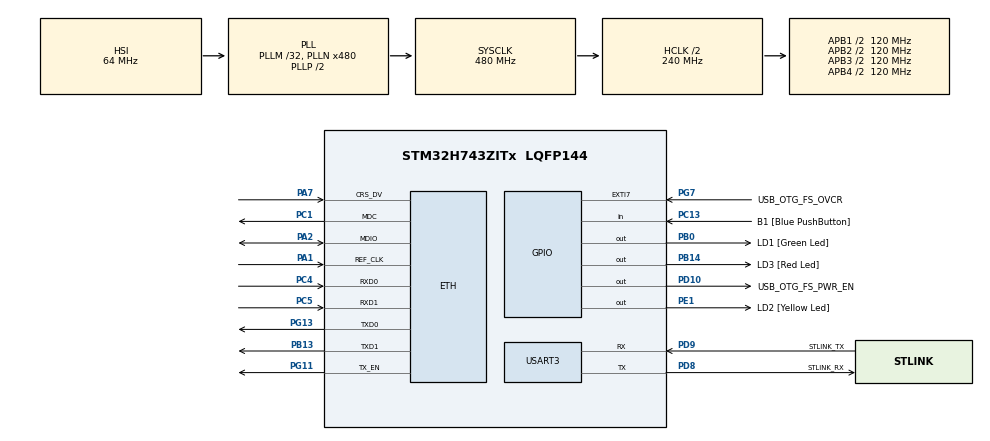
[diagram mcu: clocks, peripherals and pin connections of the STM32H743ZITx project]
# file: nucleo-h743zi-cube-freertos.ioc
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ETH.MediaInterface=HAL_ETH_RMII_MODE
ETH.RxBuffLen=0
FREERTOS.Tasks01=Blinker,24,128,blinker,Default,NULL,Dynamic,NULL,NULL;Server,24,2048,server,Default,NULL,Dynamic,NULL,NULL
FREERTOS.configTOTAL_HEAP_SIZE=65536
FREERTOS.configUSE_NEWLIB_REENTRANT=1
Mcu.Family=STM32H7
Mcu.Name=STM32H743ZITx
Mcu.Package=LQFP144
NVIC.ETH_IRQn=true\:5\:0\:false\:false\:false\:true\:true\:true\:true
NVIC.PriorityGroup=NVIC_PRIORITYGROUP_4
NVIC.TIM6_DAC_IRQn=true\:15\:0\:false\:false\:true\:false\:false\:true\:true
NVIC.TimeBase=TIM6_DAC_IRQn
NVIC.TimeBaseIP=TIM6
PA1.Mode=RMII
PA1.Signal=ETH_REF_CLK
PA11.Signal=USB_OTG_FS_DM
PA12.Signal=USB_OTG_FS_DP
PA13\ (JTMS/SWDIO).GPIO_Label=JTMS
PA13\ (JTMS/SWDIO).Signal=DEBUG_JTMS-SWDIO
PA14\ (JTCK/SWCLK).GPIO_Label=JTCK
PA14\ (JTCK/SWCLK).Signal=DEBUG_JTCK-SWCLK
PA2.Mode=RMII
PA2.Signal=ETH_MDIO
PA7.Mode=RMII
PA7.Signal=ETH_CRS_DV
PA8.Signal=USB_OTG_FS_SOF
PA9.Signal=USB_OTG_FS_VBUS
PB0.GPIO_Label=LD1 [Green Led]
PB0.Signal=GPIO_Output
PB13.Mode=RMII
PB13.Signal=ETH_TXD1
PB14.GPIO_Label=LD3 [Red Led]
PB14.Signal=GPIO_Output
PC1.Mode=RMII
PC1.Signal=ETH_MDC
PC13.GPIO_Label=B1 [Blue PushButton]
PC13.Signal=GPIO_Input
PC14-OSC32_IN\ (OSC32_IN).Signal=RCC_OSC32_IN
PC15-OSC32_OUT\ (OSC32_OUT).Signal=RCC_OSC32_OUT
PC4.Mode=RMII
PC4.Signal=ETH_RXD0
PC5.Mode=RMII
PC5.Signal=ETH_RXD1
PD10.GPIO_Label=USB_OTG_FS_PWR_EN
PD10.Signal=GPIO_Output
PD8.GPIO_Label=STLINK_RX
PD8.Mode=Asynchronous
PD8.Signal=USART3_TX
PD9.GPIO_Label=STLINK_TX
PD9.Mode=Asynchronous
PD9.Signal=USART3_RX
PE1.GPIO_Label=LD2 [Yellow Led]
PE1.Signal=GPIO_Output
PG11.Mode=RMII
PG11.Signal=ETH_TX_EN
PG13.Mode=RMII
PG13.Signal=ETH_TXD0
PG7.GPIO_Label=USB_OTG_FS_OVCR
PG7.Signal=GPXTI7
PH0-OSC_IN\ (PH0).Signal=RCC_OSC_IN
PH1-OSC_OUT\ (PH1).Signal=RCC_OSC_OUT
ProjectManager.HeapSize=0x20000
ProjectManager.StackSize=0x8000
ProjectManager.TargetToolchain=STM32CubeIDE
RCC.ADCFreq_Value=129000000
RCC.APB1Freq_Value=120000000
RCC.APB2Freq_Value=120000000
RCC.APB3Freq_Value=120000000
RCC.APB4Freq_Value=120000000
RCC.CSICalibrationValue=16
RCC.CortexFreq_Value=480000000
RCC.D1PPRE=RCC_APB3_DIV2
RCC.D2PPRE1=RCC_APB1_DIV2
RCC.D2PPRE2=RCC_APB2_DIV2
RCC.D3PPRE=RCC_APB4_DIV2
RCC.DATA_CACHE_ENABLE=1
RCC.DIVN1=480
RCC.HCLKFreq_Value=240000000
RCC.HPRE=RCC_HCLK_DIV2
RCC.INSTRUCTION_CACHE_ENABLE=1
RCC.PREFETCH_ENABLE=1
RCC.PWREXT_OverDrive=PWREXT_OverDrive_DESACTIVATED
RCC.ProductRev=revV
RCC.SYSCLKFreq_VALUE=480000000
RCC.SYSCLKSource=RCC_SYSCLKSOURCE_PLLCLK
RCC.USBFreq_Value=480000000
USART3.VirtualMode-Asynchronous=VM_ASYNC
VP_FREERTOS_VS_CMSIS_V2.Mode=CMSIS_V2
VP_RNG_VS_RNG.Mode=RNG_Activate
VP_SYS_VS_tim6.Mode=TIM6
board=NUCLEO-H743ZI2

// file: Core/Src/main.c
/* USER CODE BEGIN Header */
/**
  ******************************************************************************
  * @file           : main.c
  * @brief          : Main program body
  ******************************************************************************
  * @attention
  *
  * Copyright (c) 2023 STMicroelectronics.
  * All rights reserved.
  *
  * This software is licensed under terms that can be found in the LICENSE file
  * in the root directory of this software component.
  * If no LICENSE file comes with this software, it is provided AS-IS.
  *
  ******************************************************************************
  */
/* USER CODE END Header */
#include "main.h"
#include "string.h"
#include "cmsis_os.h"

/* USER CODE BEGIN Includes */
#include "hal.h"
#include "mongoose.h"
#include "net.h"

/* USER CODE END Includes */

/* USER CODE BEGIN PD */
#define BLINK_PERIOD_MS 1000  // LED blinking period in millis

/* USER CODE END PD */

#if defined ( __ICCARM__ ) /*!< IAR Compiler */
#pragma location=0x30000000
ETH_DMADescTypeDef  DMARxDscrTab[ETH_RX_DESC_CNT]; /* Ethernet Rx DMA Descriptors */
#pragma location=0x30000200
ETH_DMADescTypeDef  DMATxDscrTab[ETH_TX_DESC_CNT]; /* Ethernet Tx DMA Descriptors */

#elif defined ( __CC_ARM )  /* MDK ARM Compiler */

__attribute__((at(0x30000000))) ETH_DMADescTypeDef  DMARxDscrTab[ETH_RX_DESC_CNT]; /* Ethernet Rx DMA Descriptors */
__attribute__((at(0x30000200))) ETH_DMADescTypeDef  DMATxDscrTab[ETH_TX_DESC_CNT]; /* Ethernet Tx DMA Descriptors */

#elif defined ( __GNUC__ ) /* GNU Compiler */
ETH_DMADescTypeDef DMARxDscrTab[ETH_RX_DESC_CNT] __attribute__((section(".RxDecripSection"))); /* Ethernet Rx DMA Descriptors */
ETH_DMADescTypeDef DMATxDscrTab[ETH_TX_DESC_CNT] __attribute__((section(".TxDecripSection")));   /* Ethernet Tx DMA Descriptors */

#endif

ETH_TxPacketConfig TxConfig;

ETH_HandleTypeDef heth;

RNG_HandleTypeDef hrng;

UART_HandleTypeDef huart3;

/* Definitions for Blinker */
osThreadId_t BlinkerHandle;
const osThreadAttr_t Blinker_attributes = {
  .name = "Blinker",
  .stack_size = 128 * 4,
  .priority = (osPriority_t) osPriorityNormal,
};
/* Definitions for Server */
osThreadId_t ServerHandle;
const osThreadAttr_t Server_attributes = {
  .name = "Server",
  .stack_size = 2048 * 4,
  .priority = (osPriority_t) osPriorityNormal,
};

void SystemClock_Config(void);
static void MX_GPIO_Init(void);
static void MX_ETH_Init(void);
static void MX_RNG_Init(void);
static void MX_USART3_UART_Init(void);
void blinker(void *argument);
void server(void *argument);

/* USER CODE BEGIN 0 */
void mg_random(void *buf, size_t len) {  // Use on-board RNG
  extern RNG_HandleTypeDef hrng;
  for (size_t n = 0; n < len; n += sizeof(uint32_t)) {
    uint32_t r;
    HAL_RNG_GenerateRandomNumber(&hrng, &r);
    memcpy((char *) buf + n, &r, n + sizeof(r) > len ? len - n : sizeof(r));
  }
}

static void timer_fn(void *arg) {
  struct mg_tcpip_if *ifp = arg;                  // And show
  const char *names[] = {"down", "up", "ready"};  // network stats
  MG_INFO(("Ethernet: %s, IP: %M, rx:%u, tx:%u, dr:%u, er:%u",
           names[ifp->state], mg_print_ip4, &ifp->ip, ifp->nrecv, ifp->nsent,
           ifp->ndrop, ifp->nerr));
}

/* USER CODE END 0 */

int main(void)
{

  /* MCU Configuration--------------------------------------------------------*/

  /* Reset of all peripherals, Initializes the Flash interface and the Systick. */
  HAL_Init();

  /* Configure the system clock */
  SystemClock_Config();

  /* Initialize all configured peripherals */
  MX_GPIO_Init();
  MX_ETH_Init();
  MX_RNG_Init();
  MX_USART3_UART_Init();
  /* USER CODE BEGIN 2 */
  test_init();  // for internal testing purposes only
  MG_INFO(("Chip revision: %c, max cpu clock: %u MHz", chiprev(),
           (chiprev() == 'V') ? 480 : 400));

  /* USER CODE END 2 */

  /* Init scheduler */
  osKernelInitialize();

  /* Create the thread(s) */
  /* creation of Blinker */
  BlinkerHandle = osThreadNew(blinker, NULL, &Blinker_attributes);

  /* creation of Server */
  ServerHandle = osThreadNew(server, NULL, &Server_attributes);

  /* Start scheduler */
  osKernelStart();
  /* We should never get here as control is now taken by the scheduler */
  /* Infinite loop */
  while (1)
  {

  }
}

void SystemClock_Config(void)
{
  RCC_OscInitTypeDef RCC_OscInitStruct = {0};
  RCC_ClkInitTypeDef RCC_ClkInitStruct = {0};

  /** Supply configuration update enable
  */
  HAL_PWREx_ConfigSupply(PWR_LDO_SUPPLY);

  /** Configure the main internal regulator output voltage
  */
  __HAL_PWR_VOLTAGESCALING_CONFIG(PWR_REGULATOR_VOLTAGE_SCALE1);

  while(!__HAL_PWR_GET_FLAG(PWR_FLAG_VOSRDY)) {}

  __HAL_RCC_SYSCFG_CLK_ENABLE();
  __HAL_PWR_VOLTAGESCALING_CONFIG(PWR_REGULATOR_VOLTAGE_SCALE0);

  while(!__HAL_PWR_GET_FLAG(PWR_FLAG_VOSRDY)) {}

  /** Initializes the RCC Oscillators according to the specified parameters
  * in the RCC_OscInitTypeDef structure.
  */
  RCC_OscInitStruct.OscillatorType = RCC_OSCILLATORTYPE_HSI48|RCC_OSCILLATORTYPE_HSI;
  RCC_OscInitStruct.HSIState = RCC_HSI_DIV1;
  RCC_OscInitStruct.HSICalibrationValue = RCC_HSICALIBRATION_DEFAULT;
  RCC_OscInitStruct.HSI48State = RCC_HSI48_ON;
  RCC_OscInitStruct.PLL.PLLState = RCC_PLL_ON;
  RCC_OscInitStruct.PLL.PLLSource = RCC_PLLSOURCE_HSI;
  RCC_OscInitStruct.PLL.PLLM = 32;
  RCC_OscInitStruct.PLL.PLLN = 480;
  RCC_OscInitStruct.PLL.PLLP = 2;
  RCC_OscInitStruct.PLL.PLLQ = 2;
  RCC_OscInitStruct.PLL.PLLR = 2;
  RCC_OscInitStruct.PLL.PLLRGE = RCC_PLL1VCIRANGE_1;
  RCC_OscInitStruct.PLL.PLLVCOSEL = RCC_PLL1VCOWIDE;
  RCC_OscInitStruct.PLL.PLLFRACN = 0;
  if (HAL_RCC_OscConfig(&RCC_OscInitStruct) != HAL_OK)
  {
    Error_Handler();
  }

  /** Initializes the CPU, AHB and APB buses clocks
  */
  RCC_ClkInitStruct.ClockType = RCC_CLOCKTYPE_HCLK|RCC_CLOCKTYPE_SYSCLK
                              |RCC_CLOCKTYPE_PCLK1|RCC_CLOCKTYPE_PCLK2
                              |RCC_CLOCKTYPE_D3PCLK1|RCC_CLOCKTYPE_D1PCLK1;
  RCC_ClkInitStruct.SYSCLKSource = RCC_SYSCLKSOURCE_PLLCLK;
  RCC_ClkInitStruct.SYSCLKDivider = RCC_SYSCLK_DIV1;
  RCC_ClkInitStruct.AHBCLKDivider = RCC_HCLK_DIV2;
  RCC_ClkInitStruct.APB3CLKDivider = RCC_APB3_DIV2;
  RCC_ClkInitStruct.APB1CLKDivider = RCC_APB1_DIV2;
  RCC_ClkInitStruct.APB2CLKDivider = RCC_APB2_DIV2;
  RCC_ClkInitStruct.APB4CLKDivider = RCC_APB4_DIV2;

  if (HAL_RCC_ClockConfig(&RCC_ClkInitStruct, FLASH_LATENCY_4) != HAL_OK)
  {
    Error_Handler();
  }
}

static void MX_ETH_Init(void)
{

   static uint8_t MACAddr[6];

  heth.Instance = ETH;
  MACAddr[0] = 0x00;
  MACAddr[1] = 0x80;
  MACAddr[2] = 0xE1;
  MACAddr[3] = 0x00;
  MACAddr[4] = 0x00;
  MACAddr[5] = 0x00;
  heth.Init.MACAddr = &MACAddr[0];
  heth.Init.MediaInterface = HAL_ETH_RMII_MODE;
  heth.Init.TxDesc = DMATxDscrTab;
  heth.Init.RxDesc = DMARxDscrTab;
  heth.Init.RxBuffLen = 0;

  if (HAL_ETH_Init(&heth) != HAL_OK)
  {
    Error_Handler();
  }

  memset(&TxConfig, 0 , sizeof(ETH_TxPacketConfig));
  TxConfig.Attributes = ETH_TX_PACKETS_FEATURES_CSUM | ETH_TX_PACKETS_FEATURES_CRCPAD;
  TxConfig.ChecksumCtrl = ETH_CHECKSUM_IPHDR_PAYLOAD_INSERT_PHDR_CALC;
  TxConfig.CRCPadCtrl = ETH_CRC_PAD_INSERT;

}

static void MX_RNG_Init(void)
{

  hrng.Instance = RNG;
  hrng.Init.ClockErrorDetection = RNG_CED_ENABLE;
  if (HAL_RNG_Init(&hrng) != HAL_OK)
  {
    Error_Handler();
  }

}

static void MX_USART3_UART_Init(void)
{

  huart3.Instance = USART3;
  huart3.Init.BaudRate = 115200;
  huart3.Init.WordLength = UART_WORDLENGTH_8B;
  huart3.Init.StopBits = UART_STOPBITS_1;
  huart3.Init.Parity = UART_PARITY_NONE;
  huart3.Init.Mode = UART_MODE_TX_RX;
  huart3.Init.HwFlowCtl = UART_HWCONTROL_NONE;
  huart3.Init.OverSampling = UART_OVERSAMPLING_16;
  huart3.Init.OneBitSampling = UART_ONE_BIT_SAMPLE_DISABLE;
  huart3.Init.ClockPrescaler = UART_PRESCALER_DIV1;
  huart3.AdvancedInit.AdvFeatureInit = UART_ADVFEATURE_NO_INIT;
  if (HAL_UART_Init(&huart3) != HAL_OK)
  {
    Error_Handler();
  }
  if (HAL_UARTEx_SetTxFifoThreshold(&huart3, UART_TXFIFO_THRESHOLD_1_8) != HAL_OK)
  {
    Error_Handler();
  }
  if (HAL_UARTEx_SetRxFifoThreshold(&huart3, UART_RXFIFO_THRESHOLD_1_8) != HAL_OK)
  {
    Error_Handler();
  }
  if (HAL_UARTEx_DisableFifoMode(&huart3) != HAL_OK)
  {
    Error_Handler();
  }

}

static void MX_GPIO_Init(void)
{
  GPIO_InitTypeDef GPIO_InitStruct = {0};

  /* GPIO Ports Clock Enable */
  __HAL_RCC_GPIOC_CLK_ENABLE();
  __HAL_RCC_GPIOH_CLK_ENABLE();
  __HAL_RCC_GPIOA_CLK_ENABLE();
  __HAL_RCC_GPIOB_CLK_ENABLE();
  __HAL_RCC_GPIOD_CLK_ENABLE();
  __HAL_RCC_GPIOG_CLK_ENABLE();
  __HAL_RCC_GPIOE_CLK_ENABLE();

  /*Configure GPIO pin Output Level */
  HAL_GPIO_WritePin(GPIOB, LD1_Pin|LD3_Pin, GPIO_PIN_RESET);

  /*Configure GPIO pin Output Level */
  HAL_GPIO_WritePin(USB_OTG_FS_PWR_EN_GPIO_Port, USB_OTG_FS_PWR_EN_Pin, GPIO_PIN_RESET);

  /*Configure GPIO pin Output Level */
  HAL_GPIO_WritePin(LD2_GPIO_Port, LD2_Pin, GPIO_PIN_RESET);

  /*Configure GPIO pin : B1_Pin */
  GPIO_InitStruct.Pin = B1_Pin;
  GPIO_InitStruct.Mode = GPIO_MODE_INPUT;
  GPIO_InitStruct.Pull = GPIO_NOPULL;
  HAL_GPIO_Init(B1_GPIO_Port, &GPIO_InitStruct);

  /*Configure GPIO pins : LD1_Pin LD3_Pin */
  GPIO_InitStruct.Pin = LD1_Pin|LD3_Pin;
  GPIO_InitStruct.Mode = GPIO_MODE_OUTPUT_PP;
  GPIO_InitStruct.Pull = GPIO_NOPULL;
  GPIO_InitStruct.Speed = GPIO_SPEED_FREQ_LOW;
  HAL_GPIO_Init(GPIOB, &GPIO_InitStruct);

  /*Configure GPIO pin : USB_OTG_FS_PWR_EN_Pin */
  GPIO_InitStruct.Pin = USB_OTG_FS_PWR_EN_Pin;
  GPIO_InitStruct.Mode = GPIO_MODE_OUTPUT_PP;
  GPIO_InitStruct.Pull = GPIO_NOPULL;
  GPIO_InitStruct.Speed = GPIO_SPEED_FREQ_LOW;
  HAL_GPIO_Init(USB_OTG_FS_PWR_EN_GPIO_Port, &GPIO_InitStruct);

  /*Configure GPIO pin : USB_OTG_FS_OVCR_Pin */
  GPIO_InitStruct.Pin = USB_OTG_FS_OVCR_Pin;
  GPIO_InitStruct.Mode = GPIO_MODE_IT_RISING;
  GPIO_InitStruct.Pull = GPIO_NOPULL;
  HAL_GPIO_Init(USB_OTG_FS_OVCR_GPIO_Port, &GPIO_InitStruct);

  /*Configure GPIO pins : PA8 PA11 PA12 */
  GPIO_InitStruct.Pin = GPIO_PIN_8|GPIO_PIN_11|GPIO_PIN_12;
  GPIO_InitStruct.Mode = GPIO_MODE_AF_PP;
  GPIO_InitStruct.Pull = GPIO_NOPULL;
  GPIO_InitStruct.Speed = GPIO_SPEED_FREQ_LOW;
  GPIO_InitStruct.Alternate = GPIO_AF10_OTG1_FS;
  HAL_GPIO_Init(GPIOA, &GPIO_InitStruct);

  /*Configure GPIO pin : LD2_Pin */
  GPIO_InitStruct.Pin = LD2_Pin;
  GPIO_InitStruct.Mode = GPIO_MODE_OUTPUT_PP;
  GPIO_InitStruct.Pull = GPIO_NOPULL;
  GPIO_InitStruct.Speed = GPIO_SPEED_FREQ_LOW;
  HAL_GPIO_Init(LD2_GPIO_Port, &GPIO_InitStruct);

}

void blinker(void *argument)
{
  /* USER CODE BEGIN 5 */
	for (;;) {
	    HAL_GPIO_TogglePin(GPIOE, GPIO_PIN_1);   // Blink On-board yellow LED
	    osDelay((osKernelGetTickFreq() * BLINK_PERIOD_MS) / 1000U);
	}
	(void) argument;

  /* USER CODE END 5 */
}

void server(void *argument)
{
  /* USER CODE BEGIN server */
	struct mg_mgr mgr;        // Initialise Mongoose event manager
	mg_mgr_init(&mgr);        // and attach it to the interface
	mg_log_set(MG_LL_DEBUG);  // Set log level

	// Initialise Mongoose network stack
	// Specify MAC address, and IP/mask/GW in network byte order for static
	// IP configuration. If IP/mask/GW are unset, DHCP is going to be used
	struct mg_tcpip_driver_stm32h_data driver_data = {.mdc_cr = 4};
	struct mg_tcpip_if mif = {.mac = GENERATE_LOCALLY_ADMINISTERED_MAC(),
	                          .driver = &mg_tcpip_driver_stm32h,
	                          .driver_data = &driver_data};
	mg_tcpip_init(&mgr, &mif);
	mg_timer_add(&mgr, BLINK_PERIOD_MS, MG_TIMER_REPEAT, timer_fn, &mif);

	MG_INFO(("MAC: %M. Waiting for IP...", mg_print_mac, mif.mac));
	while (mif.state != MG_TCPIP_STATE_READY) {
	    mg_mgr_poll(&mgr, 0);
	}

	MG_INFO(("Initialising application..."));
  web_init(&mgr);

	MG_INFO(("Starting event loop"));
	for (;;) mg_mgr_poll(&mgr, 1);  // Infinite event loop
	(void) argument;

  /* USER CODE END server */
}

void HAL_TIM_PeriodElapsedCallback(TIM_HandleTypeDef *htim)
{
  if (htim->Instance == TIM6) {
    HAL_IncTick();
  }
}

void Error_Handler(void)
{
  __disable_irq();
  while (1)
  {
  }
}
